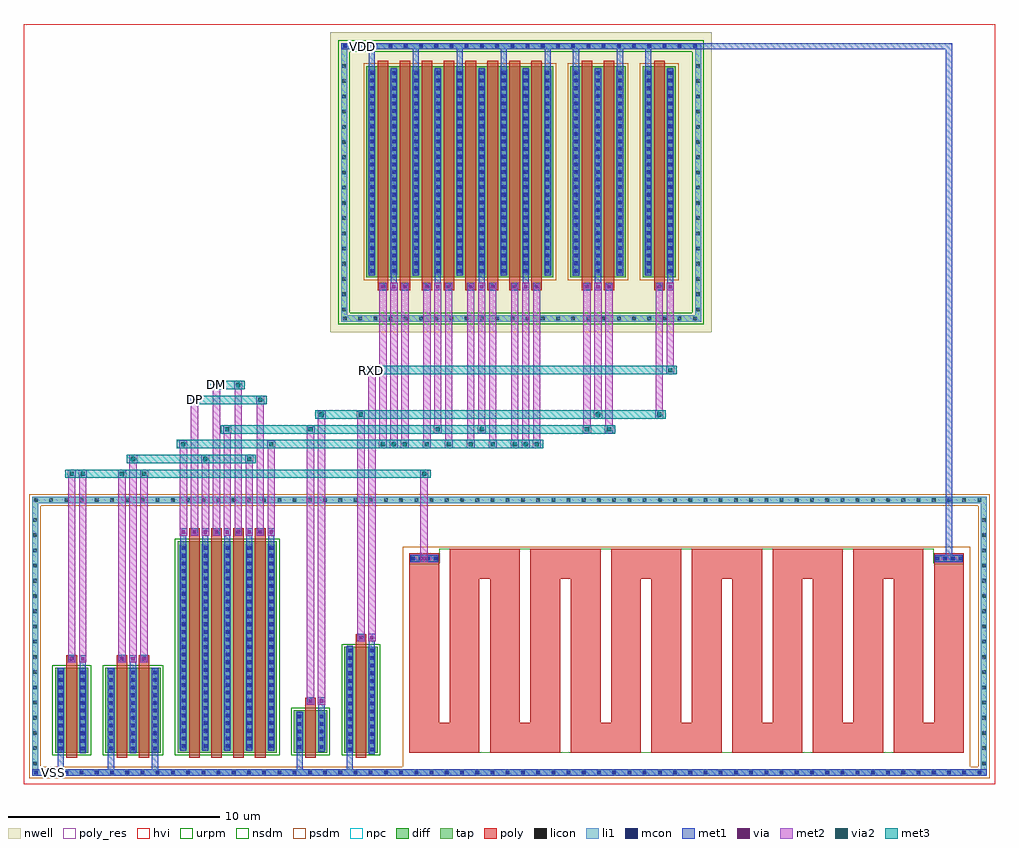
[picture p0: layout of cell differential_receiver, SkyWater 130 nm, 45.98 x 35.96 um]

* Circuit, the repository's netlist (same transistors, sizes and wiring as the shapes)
* differential_receiver -- exported by design/export_netlist.sh from design/differential_receiver.sch (xschem, sky130 symbols)
* Do not edit: edit the schematic and re-run the export.
** sch_path: design/differential_receiver.sch
.subckt differential_receiver VDD VSS DP DM RXD
*.iopin VDD
*.iopin VSS
*.ipin DP
*.ipin DM
*.iopin RXD
XRBIAS IBIASN VDD VSS sky130_fd_pr__res_xhigh_po_1p41 L=140 mult=1 m=1
XMNBIAS IBIASN IBIASN VSS VSS sky130_fd_pr__nfet_g5v0d10v5 L=0.5 W=4 nf=1 ad=1.16 as=1.16 pd=8.58
+ ps=8.58 nrd=0.0725 nrs=0.0725 sa=0 sb=0 sd=0 mult=1 m=1
XMTAIL TAIL IBIASN VSS VSS sky130_fd_pr__nfet_g5v0d10v5 L=0.5 W=4 nf=1 ad=1.16 as=1.16 pd=8.58
+ ps=8.58 nrd=0.0725 nrs=0.0725 sa=0 sb=0 sd=0 mult=2 m=2
XMN_INA LOADDIODE DP TAIL VSS sky130_fd_pr__nfet_g5v0d10v5 L=0.5 W=10 nf=1 ad=2.9 as=2.9 pd=20.58
+ ps=20.58 nrd=0.029 nrs=0.029 sa=0 sb=0 sd=0 mult=2 m=2
XMN_INB AMPOUT DM TAIL VSS sky130_fd_pr__nfet_g5v0d10v5 L=0.5 W=10 nf=1 ad=2.9 as=2.9 pd=20.58
+ ps=20.58 nrd=0.029 nrs=0.029 sa=0 sb=0 sd=0 mult=2 m=2
XMP_LOADA LOADDIODE LOADDIODE VDD VDD sky130_fd_pr__pfet_g5v0d10v5 L=0.5 W=10 nf=1 ad=2.9 as=2.9
+ pd=20.58 ps=20.58 nrd=0.029 nrs=0.029 sa=0 sb=0 sd=0 mult=4 m=4
XMP_LOADB AMPOUT LOADDIODE VDD VDD sky130_fd_pr__pfet_g5v0d10v5 L=0.5 W=10 nf=1 ad=2.9 as=2.9
+ pd=20.58 ps=20.58 nrd=0.029 nrs=0.029 sa=0 sb=0 sd=0 mult=4 m=4
XMP_B1 BUF1 AMPOUT VDD VDD sky130_fd_pr__pfet_g5v0d10v5 L=0.5 W=20 nf=1 ad=5.8 as=5.8 pd=40.58
+ ps=40.58 nrd=0.0145 nrs=0.0145 sa=0 sb=0 sd=0 mult=1 m=1
XMN_B1 BUF1 AMPOUT VSS VSS sky130_fd_pr__nfet_g5v0d10v5 L=0.5 W=2 nf=1 ad=0.58 as=0.58 pd=4.58
+ ps=4.58 nrd=0.145 nrs=0.145 sa=0 sb=0 sd=0 mult=1 m=1
XMP_B2 RXD BUF1 VDD VDD sky130_fd_pr__pfet_g5v0d10v5 L=0.5 W=10 nf=1 ad=2.9 as=2.9 pd=20.58 ps=20.58
+ nrd=0.029 nrs=0.029 sa=0 sb=0 sd=0 mult=1 m=1
XMN_B2 RXD BUF1 VSS VSS sky130_fd_pr__nfet_g5v0d10v5 L=0.5 W=5 nf=1 ad=1.45 as=1.45 pd=10.58
+ ps=10.58 nrd=0.058 nrs=0.058 sa=0 sb=0 sd=0 mult=1 m=1
.ends

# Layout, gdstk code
import gdstk
lib = gdstk.Library(unit=1e-6, precision=1e-09)
def R(c, l, rs):  # rectangles x0, y0, x1, y1
    for r in rs: c.add(gdstk.rectangle(r[:2], r[2:], *l))
def A(c, l, x, y, w, h, nx, ny, dx, dy):  # array of equal rectangles
    R(c, l, [(x+i*dx, y+j*dy, x+i*dx+w, y+j*dy+h) for i in range(nx) for j in range(ny)])
def P(c, l, *ps):  # polygons
    for p in ps: c.add(gdstk.Polygon(p, *l))
nwell = (64, 20)
diff = (65, 20)
tap = (65, 44)
poly_res = (66, 13)
poly = (66, 20)
licon = (66, 44)
li1 = (67, 20)
mcon = (67, 44)
met1 = (68, 20)
via = (68, 44)
met2 = (69, 20)
via2 = (69, 44)
met3 = (70, 20)
hvi = (75, 20)
urpm = (79, 20)
nsdm = (93, 44)
psdm = (94, 20)
npc = (95, 20)

differential_receiver = lib.new_cell('differential_receiver')
R(differential_receiver, nwell, [(14.12,20.98,32.16,35.16)])
R(differential_receiver, diff, [(1.09,1.09,2.67,5.09), (3.47,1.09,6.09,5.09), (6.89,1.09,11.59,11.09), (12.39,1.09,13.97,3.09), (14.77,1.09,16.35,6.09), (15.81,23.57,24.67,33.57), (25.47,23.57,28.09,33.57), (28.89,23.57,30.47,33.57)])
R(differential_receiver, tap, [(0,0,45.185,0.29), (0,0,0.29,13.18), (44.895,0,45.185,13.18), (0,12.89,45.185,13.18), (14.62,21.48,14.91,34.66), (14.62,21.48,31.66,21.77), (31.37,21.48,31.66,34.66), (14.62,34.37,31.66,34.66)])
P(differential_receiver, poly_res, [(17.85,1.09),(17.85,10.02),(19.27,10.02),(19.27,10.725),(42.67,10.725),(42.67,10.02),(44.09,10.02),(44.09,1.09)])
A(differential_receiver, poly, 7.43, 0.84, 0.5, 10.85, 4, 1, 1.04, 0)
A(differential_receiver, poly, 16.35, 22.97, 0.5, 10.85, 8, 1, 1.04, 0)
R(differential_receiver, poly, [(1.63,0.84,2.13,5.69), (4.01,0.84,4.51,5.69), (5.05,0.84,5.55,5.69), (12.93,0.84,13.43,3.69), (15.31,0.84,15.81,6.69), (17.85,10.02,19.26,10.52), (42.68,10.02,44.09,10.52), (26.01,22.97,26.51,33.82), (27.05,22.97,27.55,33.82), (29.43,22.97,29.93,33.82)])
P(differential_receiver, poly, [(17.85,1.09),(17.85,10.02),(19.26,10.02),(19.26,2.5),(19.76,2.5),(19.76,10.725),(23.08,10.725),(23.08,2.5),(23.58,2.5),(23.58,10.725),(26.9,10.725),(26.9,2.5),(27.4,2.5),(27.4,10.725),(30.72,10.725),(30.72,2.5),(31.22,2.5),(31.22,10.725),(34.54,10.725),(34.54,2.5),(35.04,2.5),(35.04,10.725),(38.36,10.725),(38.36,2.5),(38.86,2.5),(38.86,10.725),(42.18,10.725),(42.18,2.5),(42.68,2.5),(42.68,10.02),(44.09,10.02),(44.09,1.09),(40.77,1.09),(40.77,9.315),(40.27,9.315),(40.27,1.09),(36.95,1.09),(36.95,9.315),(36.45,9.315),(36.45,1.09),(33.13,1.09),(33.13,9.315),(32.63,9.315),(32.63,1.09),(29.31,1.09),(29.31,9.315),(28.81,9.315),(28.81,1.09),(25.49,1.09),(25.49,9.315),(24.99,9.315),(24.99,1.09),(21.67,1.09),(21.67,9.315),(21.17,9.315),(21.17,1.09)])
A(differential_receiver, licon, 0.1, 0.06, 0.17, 0.17, 63, 2, 0.72, 12.89)
A(differential_receiver, licon, 0.06, 0.49, 0.17, 0.17, 1, 17, 0, 0.72)
A(differential_receiver, licon, 44.955, 0.49, 0.17, 0.17, 1, 17, 0, 0.72)
A(differential_receiver, licon, 14.955, 1.155, 0.17, 0.17, 1, 14, 0, 0.36)
A(differential_receiver, licon, 15.995, 1.155, 0.17, 0.17, 1, 14, 0, 0.36)
A(differential_receiver, licon, 1.275, 1.195, 0.17, 0.17, 1, 11, 0, 0.36)
A(differential_receiver, licon, 2.315, 1.195, 0.17, 0.17, 1, 11, 0, 0.36)
A(differential_receiver, licon, 3.655, 1.195, 0.17, 0.17, 3, 11, 1.04, 0.36)
A(differential_receiver, licon, 12.575, 1.275, 0.17, 0.17, 1, 5, 0, 0.36)
A(differential_receiver, licon, 13.615, 1.275, 0.17, 0.17, 1, 5, 0, 0.36)
A(differential_receiver, licon, 7.075, 1.315, 0.17, 0.17, 5, 27, 1.04, 0.36)
A(differential_receiver, licon, 17.93, 10.185, 0.17, 0.17, 4, 1, 0.36, 0)
A(differential_receiver, licon, 42.76, 10.185, 0.17, 0.17, 4, 1, 0.36, 0)
A(differential_receiver, licon, 7.595, 11.44, 0.17, 0.17, 4, 1, 1.04, 0)
A(differential_receiver, licon, 14.72, 21.54, 0.17, 0.17, 24, 2, 0.72, 12.89)
A(differential_receiver, licon, 14.68, 21.97, 0.17, 0.17, 1, 17, 0, 0.72)
A(differential_receiver, licon, 31.43, 21.97, 0.17, 0.17, 1, 17, 0, 0.72)
A(differential_receiver, licon, 16.515, 23.05, 0.17, 0.17, 8, 1, 1.04, 0)
A(differential_receiver, licon, 15.995, 23.795, 0.17, 0.17, 9, 27, 1.04, 0.36)
A(differential_receiver, licon, 25.655, 23.795, 0.17, 0.17, 3, 27, 1.04, 0.36)
A(differential_receiver, licon, 29.075, 23.795, 0.17, 0.17, 1, 27, 0, 0.36)
A(differential_receiver, licon, 30.115, 23.795, 0.17, 0.17, 1, 27, 0, 0.36)
R(differential_receiver, licon, [(13.095,3.44,13.265,3.61), (1.795,5.44,1.965,5.61), (4.175,5.44,4.345,5.61), (5.215,5.44,5.385,5.61), (15.475,6.44,15.645,6.61), (26.175,23.05,26.345,23.22), (27.215,23.05,27.385,23.22), (29.595,23.05,29.765,23.22)])
A(differential_receiver, li1, 3.575, 1.115, 0.33, 3.93, 3, 1, 1.04, 0)
A(differential_receiver, li1, 6.995, 1.235, 0.33, 9.69, 5, 1, 1.04, 0)
A(differential_receiver, li1, 7.515, 11.36, 0.33, 0.33, 4, 1, 1.04, 0)
A(differential_receiver, li1, 16.435, 22.97, 0.33, 0.33, 8, 1, 1.04, 0)
A(differential_receiver, li1, 15.915, 23.715, 0.33, 9.69, 9, 1, 1.04, 0)
A(differential_receiver, li1, 25.575, 23.715, 0.33, 9.69, 3, 1, 1.04, 0)
R(differential_receiver, li1, [(0,0,45.185,0.29), (0,0,0.29,13.18), (44.895,0,45.185,13.18), (14.875,1.075,15.205,6.085), (15.915,1.075,16.245,6.085), (1.195,1.115,1.525,5.045), (2.235,1.115,2.565,5.045), (12.495,1.195,12.825,2.965), (13.535,1.195,13.865,2.965), (13.015,3.36,13.345,3.69), (1.715,5.36,2.045,5.69), (4.095,5.36,4.425,5.69), (5.135,5.36,5.465,5.69), (15.395,6.36,15.725,6.69), (17.915,10.105,19.195,10.435), (42.745,10.105,44.025,10.435), (0,12.89,45.185,13.18), (14.62,21.48,14.91,34.66), (14.62,21.48,31.66,21.77), (31.37,21.48,31.66,34.66), (26.095,22.97,26.425,23.3), (27.135,22.97,27.465,23.3), (29.515,22.97,29.845,23.3), (28.995,23.715,29.325,33.405), (30.035,23.715,30.365,33.405), (14.62,34.37,31.66,34.66)])
A(differential_receiver, mcon, 0.1, 0.06, 0.17, 0.17, 63, 1, 0.72, 0)
A(differential_receiver, mcon, 14.955, 1.155, 0.17, 0.17, 1, 14, 0, 0.36)
A(differential_receiver, mcon, 15.995, 1.155, 0.17, 0.17, 1, 14, 0, 0.36)
A(differential_receiver, mcon, 1.275, 1.195, 0.17, 0.17, 1, 11, 0, 0.36)
A(differential_receiver, mcon, 2.315, 1.195, 0.17, 0.17, 1, 11, 0, 0.36)
A(differential_receiver, mcon, 3.655, 1.195, 0.17, 0.17, 3, 11, 1.04, 0.36)
A(differential_receiver, mcon, 12.575, 1.275, 0.17, 0.17, 1, 5, 0, 0.36)
A(differential_receiver, mcon, 13.615, 1.275, 0.17, 0.17, 1, 5, 0, 0.36)
A(differential_receiver, mcon, 7.075, 1.315, 0.17, 0.17, 5, 27, 1.04, 0.36)
A(differential_receiver, mcon, 17.93, 10.185, 0.17, 0.17, 4, 1, 0.36, 0)
A(differential_receiver, mcon, 42.76, 10.185, 0.17, 0.17, 4, 1, 0.36, 0)
A(differential_receiver, mcon, 7.595, 11.44, 0.17, 0.17, 4, 1, 1.04, 0)
A(differential_receiver, mcon, 16.515, 23.05, 0.17, 0.17, 8, 1, 1.04, 0)
A(differential_receiver, mcon, 15.995, 23.795, 0.17, 0.17, 9, 27, 1.04, 0.36)
A(differential_receiver, mcon, 25.655, 23.795, 0.17, 0.17, 3, 27, 1.04, 0.36)
A(differential_receiver, mcon, 29.075, 23.795, 0.17, 0.17, 1, 27, 0, 0.36)
A(differential_receiver, mcon, 30.115, 23.795, 0.17, 0.17, 1, 27, 0, 0.36)
A(differential_receiver, mcon, 14.72, 34.43, 0.17, 0.17, 24, 1, 0.72, 0)
R(differential_receiver, mcon, [(13.095,3.44,13.265,3.61), (1.795,5.44,1.965,5.61), (4.175,5.44,4.345,5.61), (5.215,5.44,5.385,5.61), (15.475,6.44,15.645,6.61), (26.175,23.05,26.345,23.22), (27.215,23.05,27.385,23.22), (29.595,23.05,29.765,23.22)])
A(differential_receiver, met1, 7.015, 1.17, 0.29, 10.355, 5, 1, 1.04, 0)
A(differential_receiver, met1, 4.085, 5.35, 0.35, 0.35, 3, 1, 0.52, 0)
A(differential_receiver, met1, 7.505, 11.35, 0.35, 0.35, 3, 1, 0.52, 0)
A(differential_receiver, met1, 8.545, 11.35, 0.35, 0.35, 3, 1, 0.52, 0)
A(differential_receiver, met1, 9.585, 11.35, 0.35, 0.35, 3, 1, 0.52, 0)
A(differential_receiver, met1, 16.425, 22.96, 0.35, 0.35, 3, 1, 0.52, 0)
A(differential_receiver, met1, 18.505, 22.96, 0.35, 0.35, 3, 1, 0.52, 0)
A(differential_receiver, met1, 20.585, 22.96, 0.35, 0.35, 3, 1, 0.52, 0)
A(differential_receiver, met1, 22.665, 22.96, 0.35, 0.35, 3, 1, 0.52, 0)
A(differential_receiver, met1, 26.085, 22.96, 0.35, 0.35, 3, 1, 0.52, 0)
A(differential_receiver, met1, 16.975, 23.135, 0.29, 10.335, 4, 1, 2.08, 0)
A(differential_receiver, met1, 15.935, 23.65, 0.29, 10.72, 5, 1, 2.08, 0)
R(differential_receiver, met1, [(0,0,45.185,0.29), (1.215,0.29,1.505,5.11), (3.595,0.29,3.885,5.11), (5.675,0.29,5.965,5.11), (12.515,0.29,12.805,3.03), (14.895,0.29,15.185,6.15), (15.935,1.01,16.225,6.525), (2.255,1.05,2.545,5.525), (4.635,1.05,4.925,5.525), (13.555,1.13,13.845,3.525), (13.005,3.35,13.355,3.7), (13.005,3.35,13.355,3.7), (13.525,3.35,13.875,3.7), (1.705,5.35,2.055,5.7), (1.705,5.35,2.055,5.7), (2.225,5.35,2.575,5.7), (4.085,5.35,4.435,5.7), (5.125,5.35,5.475,5.7), (15.385,6.35,15.735,6.7), (15.385,6.35,15.735,6.7), (15.905,6.35,16.255,6.7), (17.895,10.095,19.215,10.445), (18.38,10.095,18.73,10.445), (42.725,10.095,44.045,10.445), (43.24,10.095,43.53,34.66), (6.985,11.35,7.335,11.7), (7.505,11.35,7.855,11.7), (10.625,11.35,10.975,11.7), (11.145,11.35,11.495,11.7), (16.425,22.96,16.775,23.31), (17.465,22.96,17.815,23.31), (18.505,22.96,18.855,23.31), (19.545,22.96,19.895,23.31), (20.585,22.96,20.935,23.31), (21.625,22.96,21.975,23.31), (22.665,22.96,23.015,23.31), (23.705,22.96,24.055,23.31), (26.085,22.96,26.435,23.31), (27.125,22.96,27.475,23.31), (29.505,22.96,29.855,23.31), (29.505,22.96,29.855,23.31), (30.025,22.96,30.375,23.31), (26.635,23.135,26.925,33.47), (30.055,23.135,30.345,33.47), (25.595,23.65,25.885,34.37), (27.675,23.65,27.965,34.37), (29.015,23.65,29.305,34.37), (14.62,34.37,31.66,34.66), (31.56,34.37,43.53,34.66)])
A(differential_receiver, via, 4.185, 5.45, 0.15, 0.15, 3, 1, 0.52, 0)
A(differential_receiver, via, 7.085, 11.45, 0.15, 0.15, 9, 1, 0.52, 0)
A(differential_receiver, via, 16.525, 23.06, 0.15, 0.15, 3, 1, 0.52, 0)
A(differential_receiver, via, 18.605, 23.06, 0.15, 0.15, 3, 1, 0.52, 0)
A(differential_receiver, via, 20.685, 23.06, 0.15, 0.15, 3, 1, 0.52, 0)
A(differential_receiver, via, 22.765, 23.06, 0.15, 0.15, 3, 1, 0.52, 0)
A(differential_receiver, via, 26.185, 23.06, 0.15, 0.15, 3, 1, 0.52, 0)
R(differential_receiver, via, [(13.105,3.45,13.255,3.6), (13.625,3.45,13.775,3.6), (1.805,5.45,1.955,5.6), (2.325,5.45,2.475,5.6), (15.485,6.45,15.635,6.6), (16.005,6.45,16.155,6.6), (18.48,10.195,18.63,10.345), (29.605,23.06,29.755,23.21), (30.125,23.06,30.275,23.21)])
A(differential_receiver, met2, 16.41, 15.49, 0.38, 0.38, 3, 1, 0.52, 0)
A(differential_receiver, met2, 18.49, 15.49, 0.38, 0.38, 5, 1, 1.04, 0)
A(differential_receiver, met2, 16.425, 15.505, 0.35, 7.805, 3, 1, 0.52, 0)
A(differential_receiver, met2, 18.505, 15.505, 0.35, 7.805, 5, 1, 1.04, 0)
R(differential_receiver, met2, [(13.005,3.35,13.355,16.555), (13.525,3.35,13.875,17.255), (1.705,5.35,2.055,14.455), (2.225,5.35,2.575,14.455), (4.085,5.35,4.435,14.455), (4.605,5.35,4.955,15.155), (5.125,5.35,5.475,14.455), (15.385,6.35,15.735,17.255), (15.905,6.35,16.255,19.355), (18.38,10.095,18.73,14.455), (6.985,11.35,7.335,15.855), (7.505,11.35,7.855,17.955), (8.025,11.35,8.375,15.155), (8.545,11.35,8.895,18.655), (9.065,11.35,9.415,16.555), (9.585,11.35,9.935,18.655), (10.105,11.35,10.455,15.155), (10.625,11.35,10.975,17.955), (11.145,11.35,11.495,15.855), (1.69,14.09,2.07,14.47), (2.21,14.09,2.59,14.47), (4.07,14.09,4.45,14.47), (5.11,14.09,5.49,14.47), (18.365,14.09,18.745,14.47), (4.59,14.79,4.97,15.17), (8.01,14.79,8.39,15.17), (10.09,14.79,10.47,15.17), (6.97,15.49,7.35,15.87), (11.13,15.49,11.51,15.87), (23.17,15.49,23.55,15.87), (23.69,15.49,24.07,15.87), (23.185,15.505,23.535,23.31), (23.705,15.505,24.055,23.31), (9.05,16.19,9.43,16.57), (12.99,16.19,13.37,16.57), (19.01,16.19,19.39,16.57), (21.09,16.19,21.47,16.57), (26.07,16.19,26.45,16.57), (27.11,16.19,27.49,16.57), (19.025,16.205,19.375,23.31), (21.105,16.205,21.455,23.31), (26.085,16.205,26.435,23.31), (27.125,16.205,27.475,23.31), (13.51,16.89,13.89,17.27), (15.37,16.89,15.75,17.27), (26.59,16.89,26.97,17.27), (29.49,16.89,29.87,17.27), (26.605,16.905,26.955,23.31), (29.505,16.905,29.855,23.31), (7.49,17.59,7.87,17.97), (10.61,17.59,10.99,17.97), (8.53,18.29,8.91,18.67), (9.57,18.29,9.95,18.67), (15.89,18.99,16.27,19.37), (30.01,18.99,30.39,19.37), (30.025,19.005,30.375,23.31)])
A(differential_receiver, via2, 16.5, 15.58, 0.2, 0.2, 3, 1, 0.52, 0)
A(differential_receiver, via2, 18.58, 15.58, 0.2, 0.2, 5, 1, 1.04, 0)
R(differential_receiver, via2, [(1.78,14.18,1.98,14.38), (2.3,14.18,2.5,14.38), (4.16,14.18,4.36,14.38), (5.2,14.18,5.4,14.38), (18.455,14.18,18.655,14.38), (4.68,14.88,4.88,15.08), (8.1,14.88,8.3,15.08), (10.18,14.88,10.38,15.08), (7.06,15.58,7.26,15.78), (11.22,15.58,11.42,15.78), (23.26,15.58,23.46,15.78), (23.78,15.58,23.98,15.78), (9.14,16.28,9.34,16.48), (13.08,16.28,13.28,16.48), (19.1,16.28,19.3,16.48), (21.18,16.28,21.38,16.48), (26.16,16.28,26.36,16.48), (27.2,16.28,27.4,16.48), (13.6,16.98,13.8,17.18), (15.46,16.98,15.66,17.18), (26.68,16.98,26.88,17.18), (29.58,16.98,29.78,17.18), (7.58,17.68,7.78,17.88), (10.7,17.68,10.9,17.88), (8.62,18.38,8.82,18.58), (9.66,18.38,9.86,18.58), (15.98,19.08,16.18,19.28), (30.1,19.08,30.3,19.28)])
R(differential_receiver, met3, [(1.58,14.08,18.855,14.48), (4.48,14.78,10.58,15.18), (6.86,15.48,24.18,15.88), (8.94,16.18,27.6,16.58), (13.4,16.88,29.98,17.28), (7.38,17.58,11.1,17.98), (8.42,18.28,10.06,18.68), (15.78,18.98,30.5,19.38)])
R(differential_receiver, hvi, [(-0.4,-0.4,45.585,35.56)])
P(differential_receiver, urpm, [(17.85,1.09),(17.85,10.02),(19.27,10.02),(19.27,10.725),(42.67,10.725),(42.67,10.02),(44.09,10.02),(44.09,1.09)])
R(differential_receiver, nsdm, [(0.965,0.965,2.795,5.215), (3.345,0.965,6.215,5.215), (6.765,0.965,11.715,11.215), (12.265,0.965,14.095,3.215), (14.645,0.965,16.475,6.215), (14.495,21.355,31.785,21.895), (14.495,21.355,15.035,34.785), (31.245,21.355,31.785,34.785), (14.495,34.245,31.785,34.785)])
R(differential_receiver, psdm, [(-0.125,-0.125,45.31,0.415), (-0.125,-0.125,0.415,13.305), (44.77,-0.125,45.31,13.305), (17.55,0.3,44.39,10.82), (-0.125,12.765,45.31,13.305), (15.685,23.445,24.795,33.695), (25.345,23.445,28.215,33.695), (28.765,23.445,30.595,33.695)])
A(differential_receiver, npc, 7.495, 11.34, 0.37, 0.37, 4, 1, 1.04, 0)
A(differential_receiver, npc, 16.415, 22.95, 0.37, 0.37, 8, 1, 1.04, 0)
R(differential_receiver, npc, [(12.995,3.34,13.365,3.71), (1.695,5.34,2.065,5.71), (4.075,5.34,4.445,5.71), (5.115,5.34,5.485,5.71), (15.375,6.34,15.745,6.71), (17.95,10.085,19.16,10.455), (42.78,10.085,43.99,10.455), (26.075,22.95,26.445,23.32), (27.115,22.95,27.485,23.32), (29.495,22.95,29.865,23.32)])
differential_receiver.add(gdstk.Label('VSS', (1,0.145), layer=68, texttype=5))
differential_receiver.add(gdstk.Label('VDD', (15.62,34.515), layer=68, texttype=5))
differential_receiver.add(gdstk.Label('DP', (7.68,17.78), layer=70, texttype=5))
differential_receiver.add(gdstk.Label('DM', (8.72,18.48), layer=70, texttype=5))
differential_receiver.add(gdstk.Label('RXD', (16.08,19.18), layer=70, texttype=5))

lib.write_gds('differential_receiver.gds')
